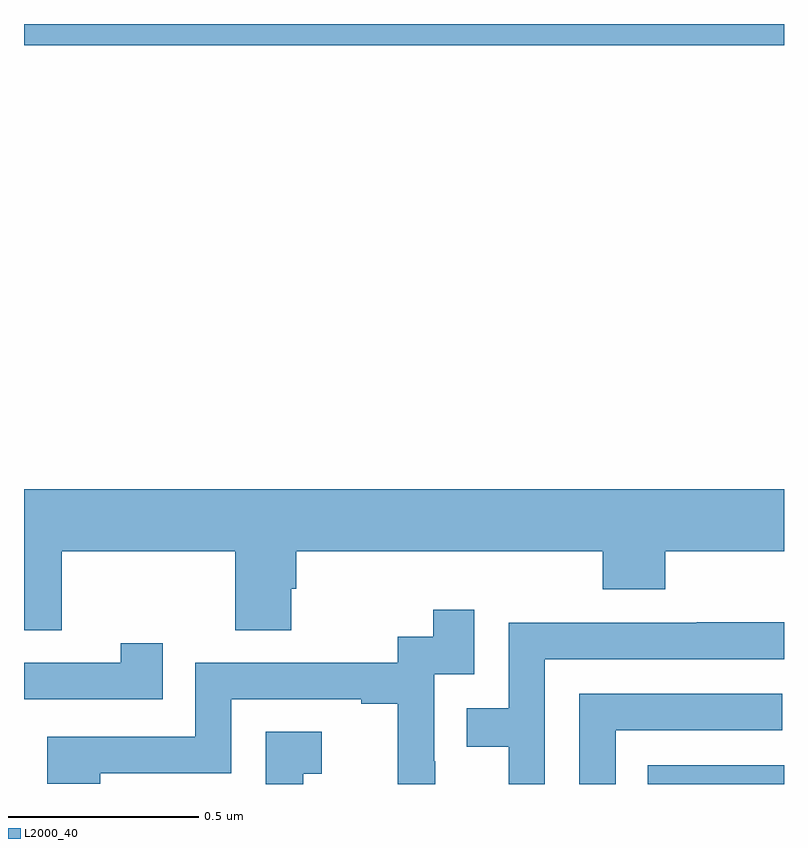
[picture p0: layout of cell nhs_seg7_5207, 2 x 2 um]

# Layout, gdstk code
import gdstk
lib = gdstk.Library(unit=1e-6, precision=1e-09)
def R(c, l, rs):  # rectangles x0, y0, x1, y1
    for r in rs: c.add(gdstk.rectangle(r[:2], r[2:], *l))
def P(c, l, *ps):  # polygons
    for p in ps: c.add(gdstk.Polygon(p, *l))
L2000_40 = (2000, 40)

nhs_seg7_5207 = lib.new_cell('nhs_seg7_5207')
R(nhs_seg7_5207, L2000_40, [(184.642,1004,185,1004.05), (183,1005.944,185,1006)])
P(nhs_seg7_5207, L2000_40, [(183.099,1004.612),(183.556,1004.612),(183.556,1004.404),(183.703,1004.404),(183.703,1004.514),(183.716,1004.514),(183.716,1004.612),(184.523,1004.612),(184.523,1004.513),(184.688,1004.513),(184.688,1004.612),(185,1004.612),(185,1004.776),(183,1004.776),(183,1004.404),(183.099,1004.404)],
  [(184.082,1004.06),(184.08,1004.06),(184.08,1004.289),(184.185,1004.289),(184.185,1004.458),(184.077,1004.458),(184.077,1004.388),(183.984,1004.388),(183.984,1004.319),(183.45,1004.319),(183.45,1004.124),(183.061,1004.124),(183.061,1004.001),(183.201,1004.001),(183.201,1004.028),(183.546,1004.028),(183.546,1004.223),(183.887,1004.223),(183.887,1004.211),(183.983,1004.211),(183.983,1004),(184.082,1004)],
  [(184.371,1004.328),(185,1004.328),(185,1004.426),(184.771,1004.426),(184.771,1004.424),(184.275,1004.424),(184.275,1004.199),(184.165,1004.199),(184.165,1004.098),(184.275,1004.098),(184.275,1004),(184.371,1004)],
  [(183.365,1004.371),(183.254,1004.371),(183.254,1004.319),(183,1004.319),(183,1004.223),(183.365,1004.223)],
  [(184.557,1004.142),(184.996,1004.142),(184.996,1004.238),(184.461,1004.238),(184.461,1004),(184.557,1004)],
  [(183.735,1004.027),(183.784,1004.027),(183.784,1004.137),(183.636,1004.137),(183.636,1004),(183.735,1004)])

lib.write_gds('nhs_seg7_5207.gds')
